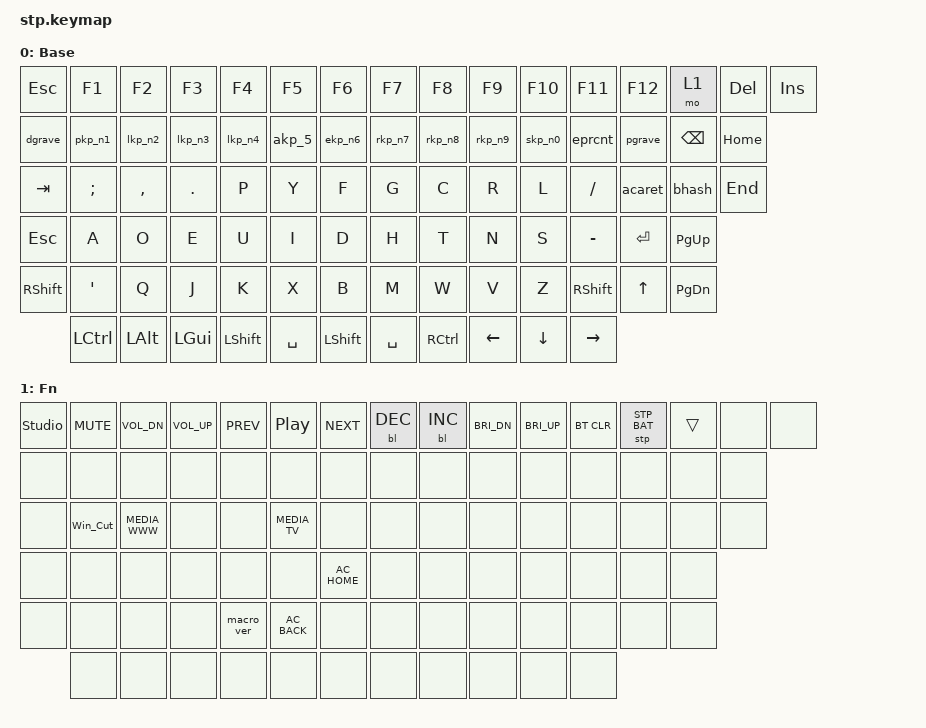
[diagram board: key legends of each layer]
#include <dt-bindings/zmk/reset.h>
#include <dt-bindings/zmk/stp.h>
#include <dt-bindings/zmk/mouse.h>
#include "studio-macros.dtsi"
#include <behaviors.dtsi>
#include <dt-bindings/zmk/backlight.h>
#include <dt-bindings/zmk/bt.h>
#include <dt-bindings/zmk/keys.h>

/ {
    behaviors {
        #include "version.dtsi"

        pgrave: pipe_grave {
            compatible = "zmk,behavior-mod-morph";
            label = "pipe_grave";
            #binding-cells = <0>;
            bindings = <&kp PIPE>, <&kp GRAVE>;

            mods = <(MOD_LSFT|MOD_RSFT)>;
        };

        pkp_n1: plus_kp_n1 {
            compatible = "zmk,behavior-mod-morph";
            label = "plus_kp_n1";
            #binding-cells = <0>;
            bindings = <&kp PLUS>, <&kp N1>;

            mods = <(MOD_LSFT|MOD_RSFT)>;
        };

        lkp_n2: left_bracket_kp_n2 {
            compatible = "zmk,behavior-mod-morph";
            label = "left_bracket_kp_n2";
            bindings = <&kp LEFT_BRACKET>, <&kp N2>;

            #binding-cells = <0>;
            mods = <(MOD_LSFT|MOD_RSFT)>;
        };

        lkp_n3: left_brace_kp_n3 {
            compatible = "zmk,behavior-mod-morph";
            label = "left_brace_kp_n3";
            bindings = <&kp LEFT_BRACE>, <&kp N3>;

            #binding-cells = <0>;
            mods = <(MOD_LSFT|MOD_RSFT)>;
        };

        lkp_n4: left_parenthesis_kp_n4 {
            compatible = "zmk,behavior-mod-morph";
            label = "left_parenthesis_kp_n4";
            bindings = <&kp LEFT_PARENTHESIS>, <&kp N4>;

            #binding-cells = <0>;
            mods = <(MOD_LSFT|MOD_RSFT)>;
        };

        akp_5: amp_kp_n5 {
            compatible = "zmk,behavior-mod-morph";
            label = "amp_kp_n5";
            bindings = <&kp AMPERSAND>, <&kp N5>;

            #binding-cells = <0>;
            mods = <(MOD_LSFT|MOD_RSFT)>;
        };

        ekp_n6: equal_kp_n6 {
            compatible = "zmk,behavior-mod-morph";
            label = "equal_kp_n6";
            #binding-cells = <0>;
            bindings = <&kp EQUAL>, <&kp N6>;

            mods = <(MOD_LSFT|MOD_RSFT)>;
        };

        rkp_n7: right_parenthesis_kp_n7 {
            compatible = "zmk,behavior-mod-morph";
            label = "right_parenthesis_kp_n7";
            #binding-cells = <0>;
            bindings = <&kp RIGHT_PARENTHESIS>, <&kp N7>;

            mods = <(MOD_LSFT|MOD_RSFT)>;
        };

        rkp_n8: right_brace_kp_n8 {
            compatible = "zmk,behavior-mod-morph";
            label = "right_brace_kp_n8";
            #binding-cells = <0>;
            bindings = <&kp RIGHT_BRACE>, <&kp N8>;

            mods = <(MOD_LSFT|MOD_RSFT)>;
        };

        rkp_n9: right_bracket_kp_n9 {
            compatible = "zmk,behavior-mod-morph";
            label = "right_bracket_kp_n9";
            #binding-cells = <0>;
            bindings = <&kp RIGHT_BRACKET>, <&kp N9>;

            mods = <(MOD_LSFT|MOD_RSFT)>;
        };

        skp_n0: star_kp_n0 {
            compatible = "zmk,behavior-mod-morph";
            label = "star_kp_n0";
            #binding-cells = <0>;
            bindings = <&kp STAR>, <&kp N0>;

            mods = <(MOD_LSFT|MOD_RSFT)>;
        };

        eprcnt: excl_prcnt {
            compatible = "zmk,behavior-mod-morph";
            label = "excl_prcnt";
            #binding-cells = <0>;
            bindings = <&kp EXCL>, <&kp PRCNT>;

            mods = <(MOD_LSFT|MOD_RSFT)>;
        };

        dgrave: dllr_grave {
            compatible = "zmk,behavior-mod-morph";
            label = "dllr_grave";
            #binding-cells = <0>;
            bindings = <&kp DLLR>, <&kp TILDE>;

            mods = <(MOD_LSFT|MOD_RSFT)>;
        };

        bhash: bslh_hash {
            compatible = "zmk,behavior-mod-morph";
            label = "bslh_hash";
            #binding-cells = <0>;
            bindings = <&kp BSLH>, <&kp HASH>;

            mods = <(MOD_LSFT|MOD_RSFT)>;
        };

        acaret: at_caret {
            compatible = "zmk,behavior-mod-morph";
            label = "at_caret";
            #binding-cells = <0>;
            bindings = <&kp AT>, <&kp CARET>;

            mods = <(MOD_LSFT|MOD_RSFT)>;
        };
    };

    keymap {
        compatible = "zmk,keymap";

        default_layer {
            display-name = "Base";
            bindings = <
&kp ESC     &kp F1     &kp F2        &kp F3        &kp F4          &kp F5     &kp F6      &kp F7     &kp F8     &kp F9          &kp F10         &kp F11          &kp F12       &mo 1          &kp DEL   &kp INS
&dgrave     &pkp_n1    &lkp_n2       &lkp_n3       &lkp_n4         &akp_5     &ekp_n6     &rkp_n7    &rkp_n8    &rkp_n9         &skp_n0         &eprcnt          &pgrave       &kp BACKSPACE  &kp HOME
&kp TAB     &kp SEMI   &kp COMMA     &kp PERIOD    &kp P           &kp Y      &kp F       &kp G      &kp C      &kp R           &kp L           &kp SLASH        &acaret       &bhash         &kp END
&kp ESC     &kp A      &kp O         &kp E         &kp U           &kp I      &kp D       &kp H      &kp T      &kp N           &kp S           &kp MINUS        &kp RET       &kp PG_UP
&kp RSHIFT  &kp SQT    &kp Q         &kp J         &kp K           &kp X      &kp B       &kp M      &kp W      &kp V           &kp Z           &kp RIGHT_SHIFT  &kp UP_ARROW  &kp PAGE_DOWN
            &kp LCTRL  &kp LEFT_ALT  &kp LEFT_GUI  &kp LEFT_SHIFT  &kp SPACE  &kp LSHIFT  &kp SPACE  &kp RCTRL  &kp LEFT_ARROW  &kp DOWN_ARROW  &kp RIGHT_ARROW
            >;
        };

        raise {
            display-name = "Fn";
            bindings = <
&studio_unlock  &kp C_MUTE  &kp C_VOL_DN     &kp C_VOL_UP  &kp C_PREV  &kp C_PP        &kp C_NEXT     &bl BL_DEC  &bl BL_INC  &kp C_BRI_DN  &kp C_BRI_UP  &bt BT_CLR  &stp STP_BAT  &trans  &none  &none
&none           &none       &none            &none         &none       &none           &none          &none       &none       &none         &none         &none       &none         &none   &none
&none           &Win_Cut    &kp C_MEDIA_WWW  &none         &none       &kp C_MEDIA_TV  &none          &none       &none       &none         &none         &none       &none         &none   &none
&none           &none       &none            &none         &none       &none           &kp C_AC_HOME  &none       &none       &none         &none         &none       &none         &none
&none           &none       &none            &none         &macro_ver  &kp C_AC_BACK   &none          &none       &none       &none         &none         &none       &none         &none
                &none       &none            &none         &none       &none           &none          &none       &none       &none         &none         &none
            >;
        };

        extra1 {
            display-name = "Blue";
            status = "reserved";
        };

        extra2 {
            display-name = "Green";
            status = "reserved";
        };

        extra3 {
            display-name = "Red";
            status = "reserved";
        };

        extra4 {
            display-name = "Purple";
            status = "reserved";
        };

        extra5 {
            display-name = "Cyan";
            status = "reserved";
        };

        extra6 {
            display-name = "Yellow";
            status = "reserved";
        };
    };
};
